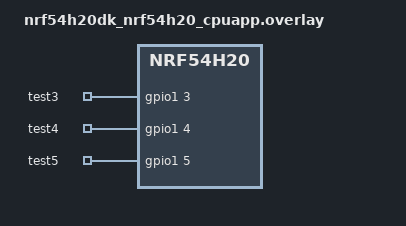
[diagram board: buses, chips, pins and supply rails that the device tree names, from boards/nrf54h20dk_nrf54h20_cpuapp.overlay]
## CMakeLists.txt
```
#
# Copyright (c) 2022 Nordic Semiconductor ASA
#
# SPDX-License-Identifier: LicenseRef-Nordic-5-Clause
#

cmake_minimum_required(VERSION 3.20.0)

find_package(Zephyr REQUIRED HINTS $ENV{ZEPHYR_BASE})

if(NOT SYSBUILD)
	message(FATAL_ERROR
		" This is a multi-image application that should be built using sysbuild.\n"
		" Add --sysbuild argument to west build command to prepare all the images.")
endif()

project(idle)

target_sources(app PRIVATE src/main.c)
target_sources(app PRIVATE src/fun1.c)
target_include_directories(app PRIVATE src)

zephyr_linker_sources(SECTIONS app_end.ld)
```

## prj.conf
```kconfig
CONFIG_PRINTK=y
CONFIG_LOG=y
CONFIG_PM=y
CONFIG_PM_S2RAM=y
CONFIG_POWEROFF=y
CONFIG_PM_S2RAM_CUSTOM_MARKING=y
CONFIG_PM_DEVICE=y
CONFIG_PM_DEVICE_RUNTIME=y
CONFIG_SPEED_OPTIMIZATIONS=y
CONFIG_GPIO=y
```

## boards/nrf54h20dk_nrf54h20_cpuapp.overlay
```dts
/*
 * Copyright (c) 2024 Nordic Semiconductor ASA
 *
 * SPDX-License-Identifier: LicenseRef-Nordic-5-Clause
 */

 / {
	test_gpio {
		compatible = "gpio-keys";
		test3: test3 {
			gpios = <&gpio1 3 GPIO_ACTIVE_HIGH>;
		};
		test4: test4 {
			gpios = <&gpio1 4 GPIO_ACTIVE_HIGH>;
		};
		test5: test5 {
			gpios = <&gpio1 5 GPIO_ACTIVE_HIGH>;
		};
	};
};
&gpio1 {
    status = "okay";
};
&gpiote130 {
    status = "okay";
};
```

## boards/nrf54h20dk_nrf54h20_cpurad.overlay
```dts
/*
 * Copyright (c) 2024 Nordic Semiconductor ASA
 *
 * SPDX-License-Identifier: LicenseRef-Nordic-5-Clause
 */

 / {
	test_gpio {
		compatible = "gpio-keys";
		loopback: loopback {
			gpios = <&gpio1 3 GPIO_ACTIVE_HIGH>;
		};
	};
};



&gpio1 {
    status = "okay";
};

&gpiote130 {
    status = "okay";
};
```

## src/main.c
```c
/*
 * Copyright (c) 2024 Nordic Semiconductor ASA
 *
 * SPDX-License-Identifier: LicenseRef-Nordic-5-Clause
 */

#include <zephyr/kernel.h>
#include <zephyr/sys/printk.h>
#include <zephyr/logging/log.h>

#include "ld_dvfs_handler.h"

LOG_MODULE_REGISTER(idle);

int main(void)
{
	unsigned int cnt = 0;

#ifdef CONFIG_FIRST_SLEEP_OFFSET
	k_msleep(1000);
#endif

	int status = dvfs_service_handler_change_freq_setting(DVFS_FREQ_LOW);

	if (status == -EAGAIN) {
		LOG_WRN("DVFS not initialized, try again.");
	} else if (status == -EBUSY) {
		LOG_WRN("DVFS frequency change in progress");
	} else if (status != 0) {
		LOG_ERR("DVFS freq change returned with error: %d", status);
	} else {
		LOG_INF("Requesting frequency setting DVFS_FREQ_LOW");
	}

	LOG_INF("Multicore idle test on %s", CONFIG_BOARD_TARGET);
	while (1) {
		LOG_INF("Multicore idle test iteration %u", cnt++);
#ifdef CONFIG_FPU
		LOG_INF("FPU test: 1/%d = %f", cnt, (double)1/cnt);
#endif
		k_msleep(2000);
	}

	return 0;
}
```

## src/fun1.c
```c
#include <zephyr/kernel.h>
#include <zephyr/sys/printk.h>

__attribute__((section(".myflashend"))) void fun1(void)
{
        printk("Hello from fun 1\n");
}
```

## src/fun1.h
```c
#ifndef FUN1_H
#define FUN1_H

#include <zephyr/kernel.h>


void fun1(void);

#endif // FUN1_H
```
